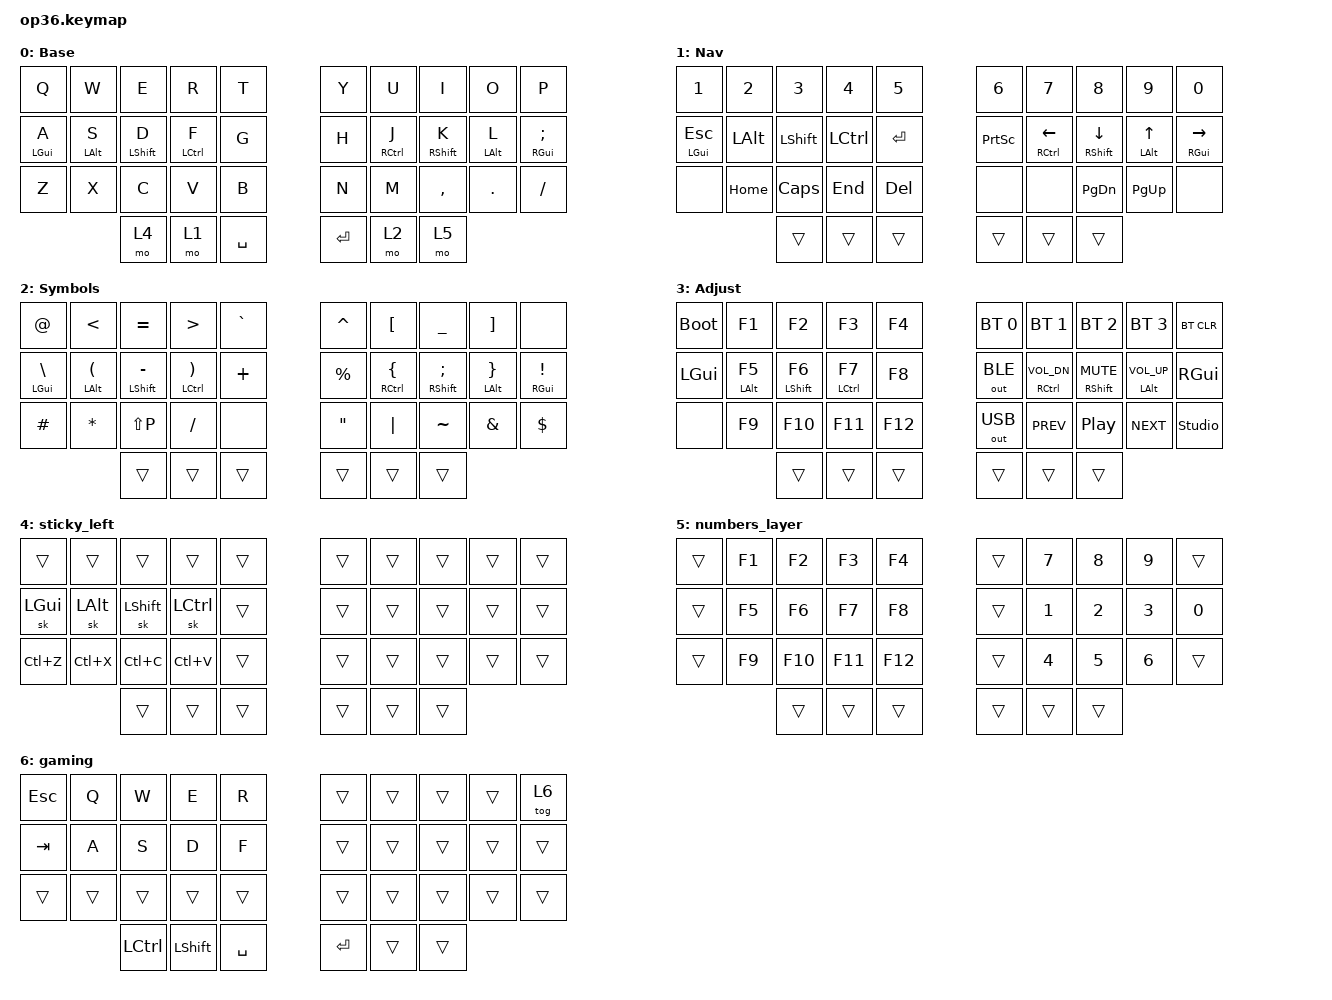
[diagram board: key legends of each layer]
#include "keys_ru.h"
#include <behaviors.dtsi>
#include <dt-bindings/zmk/bt.h>
#include <dt-bindings/zmk/keys.h>
#include <dt-bindings/zmk/outputs.h>

&mt {
    quick-tap-ms = <200>;
    flavor = "tap-preferred";
    require-prior-idle-ms = <125>;
};

/ {
    behaviors {
        hml: home_row_mod_left {
            compatible = "zmk,behavior-hold-tap";
            #binding-cells = <2>;
            flavor = "balanced";
            require-prior-idle-ms = <150>;
            tapping-term-ms = <280>;
            quick-tap-ms = <175>;
            bindings = <&kp>, <&kp>;

            hold-trigger-key-positions = <5 6 7 8 9 15 16 17 18 19 25 26 27 28 29 33 34 35>;
            hold-trigger-on-release;
        };

        hmr: home_row_mod_right {
            compatible = "zmk,behavior-hold-tap";
            #binding-cells = <2>;
            flavor = "balanced";
            require-prior-idle-ms = <150>;
            tapping-term-ms = <280>;
            quick-tap-ms = <175>;
            bindings = <&kp>, <&kp>;

            hold-trigger-key-positions = <0 1 2 3 4 10 11 12 13 14 20 21 22 23 24 30 31 32>;
            hold-trigger-on-release;
        };
    };

    combos {
        compatible = "zmk,combos";

        backspace {
            bindings = <&kp BACKSPACE>;
            key-positions = <6 7>;
        };

        tab_combo {
            bindings = <&kp TAB>;
            key-positions = <1 2>;
            layers = <0>;
        };

        apost {
            bindings = <&kp SQT>;
            key-positions = <28 29>;
            layers = <0>;
        };

        lang_switch {
            bindings = <&kp LA(LEFT_SHIFT)>;
            key-positions = <20 21 22 23>;
        };

        game_layer {
            bindings = <&tog 6>;
            key-positions = <4 5>;
        };
    };

    keymap {
        compatible = "zmk,keymap";

        base {
            bindings = <
  &kp Q        &kp W        &kp E         &kp R         &kp T                          &kp Y  &kp U         &kp I         &kp O        &kp P
  &hml LGUI A  &hml LALT S  &hml LSHFT D  &hml LCTRL F  &kp G                          &kp H  &hmr RCTRL J  &hmr RSHFT K  &hmr LALT L  &hmr RGUI SEMICOLON
  &kp Z        &kp X        &kp C         &kp V         &kp B                          &kp N  &kp M         &kp COMMA     &kp DOT      &kp SLASH
                                          &mo 4         &mo 1  &kp SPACE    &kp ENTER  &mo 2  &mo 5
            >;

            display-name = "Base";
        };

        nav {
            bindings = <
  &kp N1         &kp N2    &kp N3        &kp N4     &kp N5                        &kp N6           &kp N7           &kp N8           &kp N9        &kp N0
  &hml LGUI ESC  &kp LALT  &kp LSHFT     &kp LCTRL  &kp ENTER                     &kp PRINTSCREEN  &hmr RCTRL LEFT  &hmr RSHFT DOWN  &hmr LALT UP  &hmr RGUI RIGHT
  &none          &kp HOME  &kp CAPSLOCK  &kp END    &kp DELETE                    &none            &none            &kp PG_DN        &kp PG_UP     &none
                                         &trans     &trans      &trans    &trans  &trans           &trans
            >;

            display-name = "Nav";
        };

        sym {
            bindings = <
  &kp AT          &kp LT          &kp EQUAL         &kp GT           &kp GRAVE                    &kp CARET          &kp LBKT         &kp UNDER        &kp RBKT        &none
  &hml LGUI BSLH  &hml LALT LPAR  &hml LSHFT MINUS  &hml LCTRL RPAR  &kp PLUS                     &kp PRCNT          &hmr RCTRL LBRC  &hmr RSHFT SEMI  &hmr LALT RBRC  &hmr RGUI EXCL
  &kp HASH        &kp STAR        &kp LS(P)         &kp FSLH         &none                        &kp DOUBLE_QUOTES  &kp PIPE         &kp TILDE        &kp AMPS        &kp DLLR
                                                    &trans           &trans     &trans    &trans  &trans             &trans
            >;

            display-name = "Symbols";
        };

        adj {
            bindings = <
  &bootloader  &kp F1        &kp F2         &kp F3         &kp F4                     &bt BT_SEL 0  &bt BT_SEL 1         &bt BT_SEL 2       &bt BT_SEL 3        &bt BT_CLR
  &kp LGUI     &hml LALT F5  &hml LSHFT F6  &hml LCTRL F7  &kp F8                     &out OUT_BLE  &hmr RCTRL C_VOL_DN  &hmr RSHFT C_MUTE  &hmr LALT C_VOL_UP  &kp RGUI
  &none        &kp F9        &kp F10        &kp F11        &kp F12                    &out OUT_USB  &kp C_PREV           &kp C_PP           &kp C_NEXT          &studio_unlock
                                            &trans         &trans   &trans    &trans  &trans        &trans
            >;

            display-name = "Adjust";
        };

        sticky_left {
            bindings = <
  &trans        &trans        &trans          &trans            &trans                    &trans  &trans  &trans  &trans  &trans
  &sk LEFT_GUI  &sk LEFT_ALT  &sk LEFT_SHIFT  &sk LEFT_CONTROL  &trans                    &trans  &trans  &trans  &trans  &trans
  &kp LC(Z)     &kp LC(X)     &kp LC(C)       &kp LC(V)         &trans                    &trans  &trans  &trans  &trans  &trans
                                              &trans            &trans  &trans    &trans  &trans  &trans
            >;
        };

        numbers_layer {
            bindings = <
  &trans  &kp F1  &kp F2   &kp F3   &kp F4                     &trans  &kp N7        &kp N8        &kp N9        &trans
  &trans  &kp F5  &kp F6   &kp F7   &kp F8                     &trans  &kp N1        &kp NUMBER_2  &kp NUMBER_3  &kp N0
  &trans  &kp F9  &kp F10  &kp F11  &kp F12                    &trans  &kp NUMBER_4  &kp NUMBER_5  &kp N6        &trans
                           &trans   &trans   &trans    &trans  &trans  &trans
            >;
        };

        gaming {
            bindings = <
  &kp ESC  &kp Q   &kp W   &kp E      &kp R                            &trans  &trans  &trans  &trans  &tog 6
  &kp TAB  &kp A   &kp S   &kp D      &kp F                            &trans  &trans  &trans  &trans  &trans
  &trans   &trans  &trans  &trans     &trans                           &trans  &trans  &trans  &trans  &trans
                           &kp LCTRL  &kp LSHFT  &kp SPACE    &kp RET  &trans  &trans
            >;
        };
    };

    conditional_layers {
        compatible = "zmk,conditional-layers";

        adjust_active {
            if-layers = <1 2>;
            then-layer = <3>;
        };
    };
};
